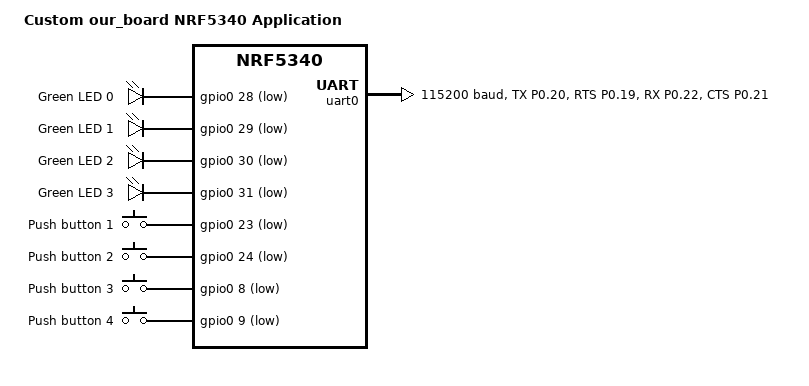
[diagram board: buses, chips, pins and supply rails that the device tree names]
/*
 * Copyright (c) 2020 Nordic Semiconductor ASA
 *
 * SPDX-License-Identifier: Apache-2.0
 */

/dts-v1/;
#include <nordic/nrf5340_cpuapp_qkaa.dtsi>
#include <nordic/nrf5340_cpuapp_partition.dtsi>
#include <zephyr/dt-bindings/input/input-event-codes.h>

/ {
	model = "Custom our_board NRF5340 Application";
	compatible = "custom,our-board-nrf5340-cpuapp";

	chosen {
		zephyr,sram = &sram0_image;
		zephyr,flash = &flash0;
		zephyr,code-partition = &slot0_partition;
		zephyr,console = &uart0;
		zephyr,shell-uart = &uart0;
	};

	leds {
		compatible = "gpio-leds";
		led0: led_0 {
			gpios = <&gpio0 28 GPIO_ACTIVE_LOW>;
			label = "Green LED 0";
		};
		led1: led_1 {
			gpios = <&gpio0 29 GPIO_ACTIVE_LOW>;
			label = "Green LED 1";
		};
		led2: led_2 {
			gpios = <&gpio0 30 GPIO_ACTIVE_LOW>;
			label = "Green LED 2";
		};
		led3: led_3 {
			gpios = <&gpio0 31 GPIO_ACTIVE_LOW>;
			label = "Green LED 3";
		};
	};

	buttons {
		compatible = "gpio-keys";
		button0: button_0 {
			gpios = <&gpio0 23 (GPIO_PULL_UP | GPIO_ACTIVE_LOW)>;
			label = "Push button 1";
			zephyr,code = <INPUT_KEY_0>;
		};
		button1: button_1 {
			gpios = <&gpio0 24 (GPIO_PULL_UP | GPIO_ACTIVE_LOW)>;
			label = "Push button 2";
			zephyr,code = <INPUT_KEY_1>;
		};
		button2: button_2 {
			gpios = <&gpio0 8 (GPIO_PULL_UP | GPIO_ACTIVE_LOW)>;
			label = "Push button 3";
			zephyr,code = <INPUT_KEY_2>;
		};
		button3: button_3 {
			gpios = <&gpio0 9 (GPIO_PULL_UP | GPIO_ACTIVE_LOW)>;
			label = "Push button 4";
			zephyr,code = <INPUT_KEY_3>;
		};
	};

	aliases {
		led0 = &led0;
		led1 = &led1;
		led2 = &led2;
		led3 = &led3;
		sw0 = &button0;
		sw1 = &button1;
		sw2 = &button2;
		sw3 = &button3;
	};
};

&pinctrl {
	uart0_default: uart0_default {
		group1 {
			psels = <NRF_PSEL(UART_TX, 0, 20)>,
				<NRF_PSEL(UART_RTS, 0, 19)>;
		};
		group2 {
			psels = <NRF_PSEL(UART_RX, 0, 22)>,
				<NRF_PSEL(UART_CTS, 0, 21)>;
			bias-pull-up;
		};
	};
	uart0_sleep: uart0_sleep {
		group1 {
			psels = <NRF_PSEL(UART_TX, 0, 20)>,
				<NRF_PSEL(UART_RX, 0, 22)>,
				<NRF_PSEL(UART_RTS, 0, 19)>,
				<NRF_PSEL(UART_CTS, 0, 21)>;
			low-power-enable;
		};
	};
};

&vregmain {
	regulator-initial-mode = <NRF5X_REG_MODE_DCDC>;
};

&gpiote {
	status = "okay";
};

&gpio0 {
	status = "okay";
};

&uart0 {
	status = "okay";
	current-speed = <115200>;
	pinctrl-0 = <&uart0_default>;
	pinctrl-1 = <&uart0_sleep>;
	pinctrl-names = "default", "sleep";
};
